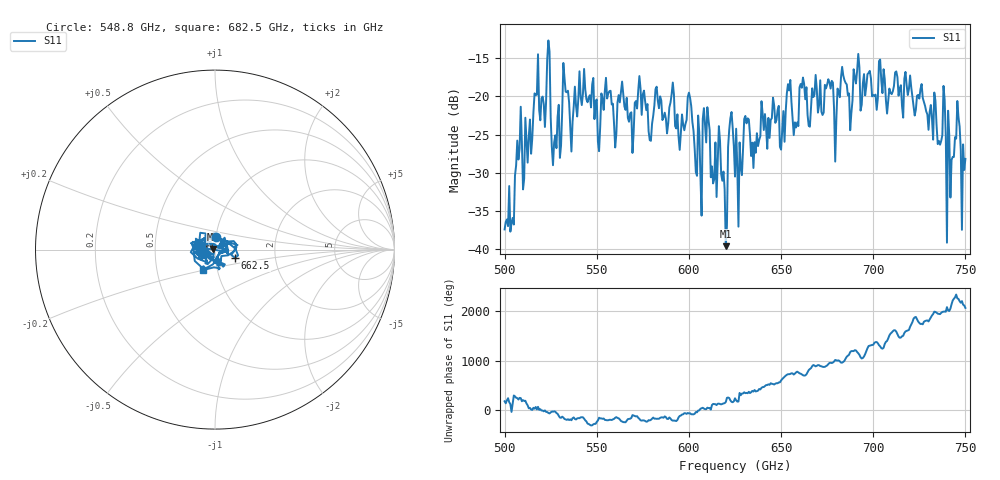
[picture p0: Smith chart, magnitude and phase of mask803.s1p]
!Created with skrf (http://scikit-rf.org).
# GHz S MA R 50.0
!freq magS11 angS11
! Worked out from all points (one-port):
!   401 points, 500 GHz to 750 GHz, reference 50 ohm
!   lowest |S11| = -39.6 dB at 620 GHz (marker M1), VSWR 1.02, Z = 49 + j0.274 ohm
!   |S11| at or under -10 dB: start of sweep to end of sweep
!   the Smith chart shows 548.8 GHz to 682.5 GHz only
!   S11 on the Smith chart (normalised r, x): 548.8 GHz: 1.00, +0.14; 662.5 GHz: 1.25, -0.12; 682.5 GHz: 0.85, -0.20
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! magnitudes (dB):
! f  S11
! 500 GHz  -37.4
! 516.9 GHz  -19.8
! 523.8 GHz  -12.7
! 526.9 GHz  -26.0
! 531.2 GHz  -22.0
! 548.8 GHz  -23.0
! 562.5 GHz  -20.8
! 579.4 GHz  -25.8
! 590.6 GHz  -19.7
! 593.8 GHz  -22.4
! 600.6 GHz  -20.2
! 605.6 GHz  -24.8
! 609.4 GHz  -26.0
! 620 GHz  -39.6
! 622.5 GHz  -22.8
! 625 GHz  -30.5
! 627.5 GHz  -26.0
! 656.2 GHz  -22.9
! 662.5 GHz  -18.4
! 680 GHz  -22.9
! 682.5 GHz  -17.5
! 687.5 GHz  -24.4
! 690.6 GHz  -18.3
! 718.8 GHz  -19.8
! 738.1 GHz  -18.6
! 741.2 GHz  -25.1
! 745.6 GHz  -20.6
! 750 GHz  -28.2
